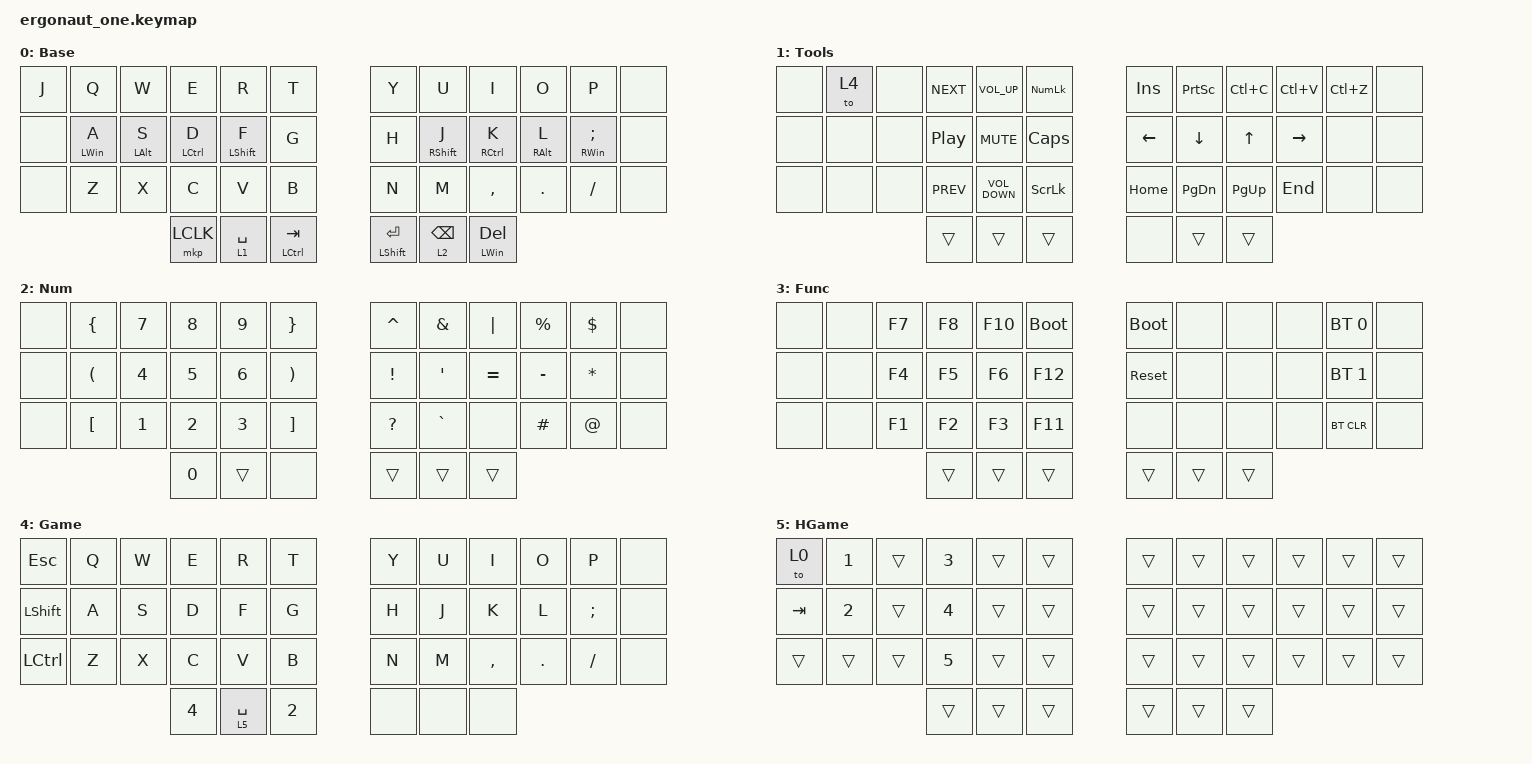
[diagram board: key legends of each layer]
#include <behaviors.dtsi>
#include <dt-bindings/zmk/bt.h>
#include <dt-bindings/zmk/keys.h>
#include <dt-bindings/zmk/mouse.h>

#define DEF 0
#define LWR 1
#define RSE 2
#define ADJ 3

&lt { quick-tap-ms = <200>; };

&mt { quick-tap-ms = <200>; };

/ {
    conditional_layers {
        compatible = "zmk,conditional-layers";

        Symbols {
            if-layers = <1 2>;
            then-layer = <3>;
        };
    };

    combos {
        compatible = "zmk,combos";

        Escape {
            bindings = <&kp ESCAPE>;
            key-positions = <2 3>;
            layers = <0>;
        };

        LBracket {
            bindings = <&kp LEFT_BRACKET>;
            key-positions = <9 10>;
        };

        RBracket {
            bindings = <&kp RIGHT_BRACKET>;
            key-positions = <21 22>;
        };

        SQuote {
            bindings = <&kp SQT>;
            key-positions = <33 34>;
        };

        Grave {
            bindings = <&kp GRAVE>;
            key-positions = <4 5>;
        };

        LeftClick {
            bindings = <&mkp LCLK>;
            key-positions = <15 16>;
        };

        RightClick {
            bindings = <&mkp RCLK>;
            key-positions = <14 15>;
        };

        MiddleClick {
            bindings = <&mkp MCLK>;
            key-positions = <13 14>;
        };

        Mouse4 {
            bindings = <&mkp MB4>;
            key-positions = <14 16 15>;
        };
    };

    macros {
        new_macro: new_macro {
            compatible = "zmk,behavior-macro";
            #binding-cells = <0>;
            bindings = <&none>, <&macro_press>;

            label = "NEW_MACRO";
        };
    };

    keymap {
        compatible = "zmk,keymap";

        Base {
            bindings = <
&kp J  &kp Q           &kp W           &kp E        &kp R             &kp T          &kp Y                 &kp U              &kp I                &kp O            &kp P                    &none
&none  &mt LEFT_WIN A  &mt LEFT_ALT S  &mt LCTRL D  &mt LEFT_SHIFT F  &kp G          &kp H                 &mt RIGHT_SHIFT J  &mt RCTRL K          &mt RIGHT_ALT L  &mt RIGHT_WIN SEMICOLON  &none
&none  &kp Z           &kp X           &kp C        &kp V             &kp B          &kp N                 &kp M              &kp COMMA            &kp DOT          &kp SLASH                &none
                                       &mkp LCLK    &lt 1 SPACE       &mt LCTRL TAB  &mt LEFT_SHIFT ENTER  &lt 2 BACKSPACE    &mt LEFT_WIN DELETE
            >;
        };

        Tools {
            bindings = <
&none  &to 4  &none  &kp C_NEXT        &kp C_VOLUME_UP    &kp KP_NUMLOCK  &kp INSERT  &kp PRINTSCREEN  &kp LC(C)  &kp LC(V)  &kp LC(Z)  &none
&none  &none  &none  &kp C_PLAY_PAUSE  &kp C_MUTE         &kp CAPSLOCK    &kp LEFT    &kp DOWN         &kp UP     &kp RIGHT  &none      &none
&none  &none  &none  &kp C_PREV        &kp C_VOLUME_DOWN  &kp SCROLLLOCK  &kp HOME    &kp PG_DN        &kp PG_UP  &kp END    &none      &none
                     &trans            &trans             &trans          &none       &trans           &trans
            >;
        };

        Num {
            bindings = <
&none  &kp LEFT_BRACE        &kp N7  &kp N8  &kp N9  &kp RIGHT_BRACE        &kp CARET        &kp AMPERSAND     &kp PIPE   &kp PERCENT  &kp DOLLAR    &none
&none  &kp LEFT_PARENTHESIS  &kp N4  &kp N5  &kp N6  &kp RIGHT_PARENTHESIS  &kp EXCLAMATION  &kp SINGLE_QUOTE  &kp EQUAL  &kp MINUS    &kp ASTERISK  &none
&none  &kp LEFT_BRACKET      &kp N1  &kp N2  &kp N3  &kp RIGHT_BRACKET      &kp QUESTION     &kp GRAVE         &none      &kp HASH     &kp AT_SIGN   &none
                                     &kp N0  &trans  &none                  &trans           &trans            &trans
            >;
        };

        Func {
            bindings = <
&none  &none  &kp F7  &kp F8  &kp F10  &bootloader  &bootloader  &none   &none   &none  &bt BT_SEL 0  &none
&none  &none  &kp F4  &kp F5  &kp F6   &kp F12      &sys_reset   &none   &none   &none  &bt BT_SEL 1  &none
&none  &none  &kp F1  &kp F2  &kp F3   &kp F11      &none        &none   &none   &none  &bt BT_CLR    &none
                      &trans  &trans   &trans       &trans       &trans  &trans
            >;
        };

        Game {
            bindings = <
&kp ESCAPE        &kp Q  &kp W  &kp E         &kp R        &kp T         &kp Y  &kp U  &kp I      &kp O    &kp P     &none
&kp LEFT_SHIFT    &kp A  &kp S  &kp D         &kp F        &kp G         &kp H  &kp J  &kp K      &kp L    &kp SEMI  &none
&kp LEFT_CONTROL  &kp Z  &kp X  &kp C         &kp V        &kp B         &kp N  &kp M  &kp COMMA  &kp DOT  &kp FSLH  &none
                                &kp NUMBER_4  &lt 5 SPACE  &kp NUMBER_2  &none  &none  &none
            >;
        };

        HGame {
            bindings = <
&to 0    &kp NUMBER_1  &trans  &kp NUMBER_3  &trans  &trans  &trans  &trans  &trans  &trans  &trans  &trans
&kp TAB  &kp NUMBER_2  &trans  &kp NUMBER_4  &trans  &trans  &trans  &trans  &trans  &trans  &trans  &trans
&trans   &trans        &trans  &kp NUMBER_5  &trans  &trans  &trans  &trans  &trans  &trans  &trans  &trans
                               &trans        &trans  &trans  &trans  &trans  &trans
            >;
        };
    };
};
